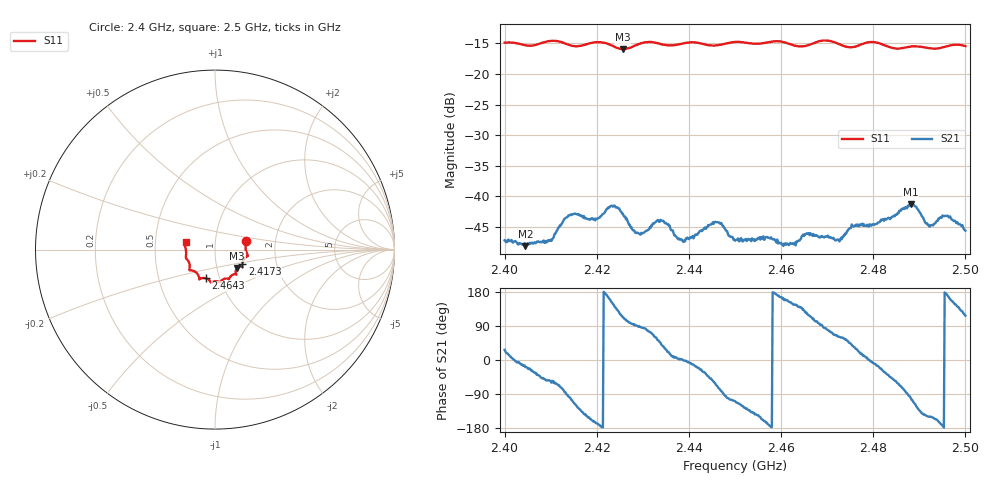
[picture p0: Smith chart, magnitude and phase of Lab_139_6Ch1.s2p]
# Hz S RI R 50
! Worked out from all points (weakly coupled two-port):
!   601 points, 2.4 GHz to 2.5 GHz, reference 50 ohm
!   highest |S21| = -41.34 dB at 2.4882 GHz (marker M1); lowest = -48.2 dB at 2.4045 GHz (marker M2)
!   lowest |S11| = -15.9 dB at 2.4257 GHz (marker M3), VSWR 1.38, Z = 62.5 - j13.1 ohm
!   |S11| at or under -10 dB: start of sweep to end of sweep
!   S12 and S22 are empty: the file has one direction only
!   S11 on the Smith chart (normalised r, x): 2.4 GHz: 1.41, +0.14; 2.4173 GHz: 1.34, -0.23; 2.4643 GHz: 0.86, -0.28; 2.5 GHz: 0.72, +0.06
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2.4e9  0.1733 0.049  0.0039 0.00196  0 0  0 0
2.4045e9  0.1706 0.0193  0.0037 -0.00126  0 0  0 0
2.41e9  0.1834 -0.0325  0.00246 -0.00366  0 0  0 0
2.4135e9  0.1701 -0.0433  -0.00019 -0.00673  0 0  0 0
2.416667e9  0.1531 -0.0749  -0.00491 -0.00495  0 0  0 0
2.417333e9  0.1522 -0.0823  -0.0053 -0.00395  0 0  0 0
2.4235e9  0.141 -0.0938  -0.00696 0.00437  0 0  0 0
2.425667e9  0.1226 -0.1021  -0.00278 0.00664  0 0  0 0
2.429e9  0.1158 -0.131  0.000161 0.00503  0 0  0 0
2.433333e9  0.113 -0.1372  0.00396 0.00502  0 0  0 0
2.438667e9  0.0809 -0.158  0.00429 4.66e-05  0 0  0 0
2.446e9  0.0476 -0.1645  0.00239 -0.00567  0 0  0 0
2.45e9  0.0295 -0.1807  -0.00138 -0.00411  0 0  0 0
2.464333e9  -0.0501 -0.1602  -0.00341 0.00297  0 0  0 0
2.466667e9  -0.0758 -0.1593  -0.00179 0.00452  0 0  0 0
2.472333e9  -0.0884 -0.1536  0.00208 0.00391  0 0  0 0
2.475833e9  -0.1148 -0.1208  0.00469 0.00316  0 0  0 0
2.483333e9  -0.1407 -0.0897  0.00509 -0.00432  0 0  0 0
2.488167e9  -0.1603 -0.0498  -0.00167 -0.00841  0 0  0 0
2.491833e9  -0.1609 -0.0271  -0.00498 -0.00304  0 0  0 0
2.495667e9  -0.1666 0.016  -0.00691 0.000524  0 0  0 0
2.5e9  -0.1639 0.0421  -0.00239 0.00466  0 0  0 0
